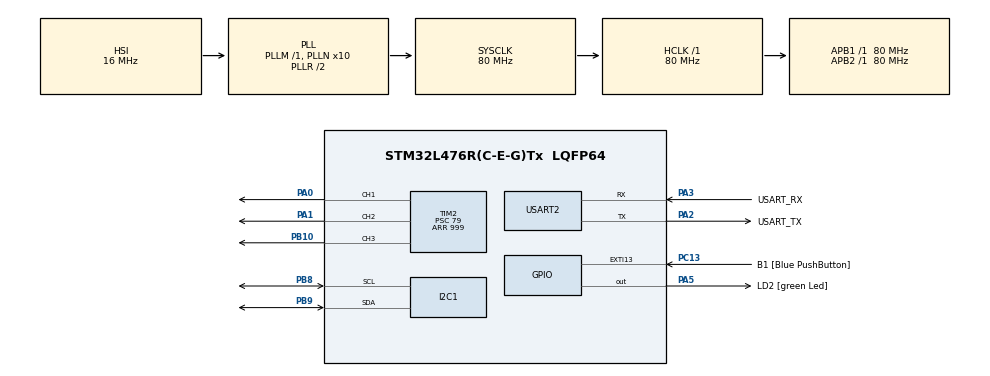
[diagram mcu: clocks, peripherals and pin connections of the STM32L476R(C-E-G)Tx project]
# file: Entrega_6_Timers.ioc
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I2C1.Timing=0x10909CEC
Mcu.Family=STM32L4
Mcu.Name=STM32L476R(C-E-G)Tx
Mcu.Package=LQFP64
NVIC.EXTI15_10_IRQn=true\:0\:0\:false\:false\:true\:true\:true\:true
NVIC.PriorityGroup=NVIC_PRIORITYGROUP_4
NVIC.TIM6_DAC_IRQn=true\:0\:0\:false\:false\:true\:true\:true\:true
PA0.Signal=S_TIM2_CH1
PA1.Signal=S_TIM2_CH2
PA13\ (JTMS-SWDIO).GPIO_Label=TMS
PA13\ (JTMS-SWDIO).Mode=Serial_Wire
PA13\ (JTMS-SWDIO).Signal=SYS_JTMS-SWDIO
PA14\ (JTCK-SWCLK).GPIO_Label=TCK
PA14\ (JTCK-SWCLK).Mode=Serial_Wire
PA14\ (JTCK-SWCLK).Signal=SYS_JTCK-SWCLK
PA2.GPIO_Label=USART_TX
PA2.GPIO_Mode=GPIO_MODE_AF_PP
PA2.GPIO_PuPd=GPIO_NOPULL
PA2.GPIO_Speed=GPIO_SPEED_FREQ_VERY_HIGH
PA2.Mode=Asynchronous
PA2.Signal=USART2_TX
PA3.GPIO_Label=USART_RX
PA3.GPIO_Mode=GPIO_MODE_AF_PP
PA3.GPIO_PuPd=GPIO_NOPULL
PA3.GPIO_Speed=GPIO_SPEED_FREQ_VERY_HIGH
PA3.Mode=Asynchronous
PA3.Signal=USART2_RX
PA5.GPIO_Label=LD2 [green Led]
PA5.GPIO_ModeDefaultOutputPP=GPIO_MODE_OUTPUT_PP
PA5.GPIO_PuPd=GPIO_NOPULL
PA5.GPIO_Speed=GPIO_SPEED_FREQ_LOW
PA5.Signal=GPIO_Output
PB10.Signal=S_TIM2_CH3
PB3\ (JTDO-TRACESWO).GPIO_Label=SWO
PB3\ (JTDO-TRACESWO).Signal=SYS_JTDO-SWO
PB8.Mode=I2C
PB8.Signal=I2C1_SCL
PB9.Mode=I2C
PB9.Signal=I2C1_SDA
PC13.GPIO_Label=B1 [Blue PushButton]
PC13.GPIO_ModeDefaultEXTI=GPIO_MODE_IT_FALLING
PC13.GPIO_PuPd=GPIO_NOPULL
PC13.Signal=GPXTI13
PC14-OSC32_IN\ (PC14).Mode=LSE-External-Oscillator
PC14-OSC32_IN\ (PC14).Signal=RCC_OSC32_IN
PC15-OSC32_OUT\ (PC15).Mode=LSE-External-Oscillator
PC15-OSC32_OUT\ (PC15).Signal=RCC_OSC32_OUT
PH0-OSC_IN\ (PH0).Signal=RCC_OSC_IN
PH1-OSC_OUT\ (PH1).Signal=RCC_OSC_OUT
ProjectManager.HeapSize=0x200
ProjectManager.StackSize=0x400
ProjectManager.TargetToolchain=STM32CubeIDE
RCC.ADCFreq_Value=64000000
RCC.AHBFreq_Value=80000000
RCC.APB1Freq_Value=80000000
RCC.APB1TimFreq_Value=80000000
RCC.APB2Freq_Value=80000000
RCC.APB2TimFreq_Value=80000000
RCC.CortexFreq_Value=80000000
RCC.HCLKFreq_Value=80000000
RCC.HSE_VALUE=8000000
RCC.HSI_VALUE=16000000
RCC.MSI_VALUE=4000000
RCC.PLLN=10
RCC.PLLSourceVirtual=RCC_PLLSOURCE_HSI
RCC.PREFETCH_ENABLE=1
RCC.SYSCLKFreq_VALUE=80000000
RCC.SYSCLKSource=RCC_SYSCLKSOURCE_PLLCLK
RCC.USBFreq_Value=64000000
RCC.VCOOutputFreq_Value=160000000
SH.S_TIM2_CH1.0=TIM2_CH1,PWM Generation1 CH1
SH.S_TIM2_CH2.0=TIM2_CH2,PWM Generation2 CH2
SH.S_TIM2_CH3.0=TIM2_CH3,PWM Generation3 CH3
TIM2.Channel-PWM\ Generation1\ CH1=TIM_CHANNEL_1
TIM2.Channel-PWM\ Generation2\ CH2=TIM_CHANNEL_2
TIM2.Channel-PWM\ Generation3\ CH3=TIM_CHANNEL_3
TIM2.Period=999
TIM2.Prescaler=79
TIM6.Period=999
TIM6.Prescaler=7999
USART2.VirtualMode-Asynchronous=VM_ASYNC
VP_TIM2_VS_ClockSourceINT.Mode=Internal
VP_TIM6_VS_ClockSourceINT.Mode=Enable_Timer
board=NUCLEO-L476RG

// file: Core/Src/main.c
/* USER CODE BEGIN Header */
/**
  ******************************************************************************
  * @file           : main.c
  * @brief          : Main program body - PCF8591 + PWM + DAC + Timer + UART
  ******************************************************************************
  */
/* USER CODE END Header */
#include "main.h"

/* USER CODE BEGIN Includes */
#include <stdint.h>
#include <stdio.h>
#include <string.h>
/* USER CODE END Includes */

/* USER CODE BEGIN PTD */
typedef enum
{
  MODO_RGB = 1,
  MODO_DAC = 2,
  MODO_RGB_DAC = 3
} ModoOperacao;
/* USER CODE END PTD */

/* USER CODE BEGIN PD */

#define PCF8591_ADDR        (0x48 << 1)

/*
  MAPEAMENTO FINAL DOS CANAIS:

  CH0 = LDR
  CH3 = POTENCIOMETRO
*/
#define PCF8591_CH_LDR      0
#define PCF8591_CH_POT      3

#define PWM_MAX_VALUE       999
#define SINE_TABLE_SIZE     10

#define I2C_TIMEOUT_MS      100

/* USER CODE END PD */

I2C_HandleTypeDef hi2c1;

TIM_HandleTypeDef htim2;
TIM_HandleTypeDef htim6;

UART_HandleTypeDef huart2;

/* USER CODE BEGIN PV */

volatile ModoOperacao modo_atual = MODO_RGB;

uint8_t pot_value = 0;
uint8_t ldr_value = 0;
uint8_t dac_value_atual = 0;

uint8_t ch0_value = 0;
uint8_t ch1_value = 0;
uint8_t ch2_value = 0;
uint8_t ch3_value = 0;

uint16_t pwm_value = 0;

volatile uint8_t sine_index = 0;
volatile uint8_t flag_timer_dac = 0;
volatile uint8_t flag_botao_pressionado = 0;

uint8_t i2c_ok = 0;

const uint8_t sine_table[SINE_TABLE_SIZE] =
{
  128, 203, 249, 249, 203,
  128, 52, 6, 6, 52
};

/* USER CODE END PV */

void SystemClock_Config(void);
static void MX_GPIO_Init(void);
static void MX_USART2_UART_Init(void);
static void MX_I2C1_Init(void);
static void MX_TIM2_Init(void);
static void MX_TIM6_Init(void);
/* USER CODE BEGIN PFP */

uint8_t PCF8591_ReadADC(uint8_t channel);
uint8_t PCF8591_WriteDAC(uint8_t value);

uint16_t Converter_ADC_Para_PWM(uint8_t adc_value);

void Atualizar_PWM_RGB(uint16_t value);
void Desligar_PWM_RGB(void);

void UART_Print(char *msg);
void UART_Print_Status(void);

void Piscar_LD2(uint8_t quantidade);
void Processar_Botao(void);
void Processar_DAC(void);

/* USER CODE END PFP */

/* USER CODE BEGIN 0 */

void UART_Print(char *msg)
{
  HAL_UART_Transmit(&huart2, (uint8_t *)msg, strlen(msg), 100);
}

void UART_Print_Status(void)
{
  char buffer[240];

  snprintf(buffer, sizeof(buffer),
           "Modo:%d | POT:%3d | LDR:%3d | PWM:%4d | DAC:%3d | I2C:%s | CH0:%3d CH1:%3d CH2:%3d CH3:%3d\r\n",
           modo_atual,
           pot_value,
           ldr_value,
           pwm_value,
           dac_value_atual,
           i2c_ok ? "OK" : "ERRO",
           ch0_value,
           ch1_value,
           ch2_value,
           ch3_value);

  UART_Print(buffer);
}

uint8_t PCF8591_ReadADC(uint8_t channel)
{
  uint8_t control_byte;
  uint8_t adc_value = 0;
  HAL_StatusTypeDef status;

  control_byte = 0x40 | (channel & 0x03);

  status = HAL_I2C_Master_Transmit(&hi2c1, PCF8591_ADDR, &control_byte, 1, I2C_TIMEOUT_MS);

  if (status != HAL_OK)
  {
    i2c_ok = 0;
    return 0;
  }

  HAL_I2C_Master_Receive(&hi2c1, PCF8591_ADDR, &adc_value, 1, I2C_TIMEOUT_MS);

  status = HAL_I2C_Master_Receive(&hi2c1, PCF8591_ADDR, &adc_value, 1, I2C_TIMEOUT_MS);

  if (status != HAL_OK)
  {
    i2c_ok = 0;
    return 0;
  }

  i2c_ok = 1;
  return adc_value;
}

uint8_t PCF8591_WriteDAC(uint8_t value)
{
  uint8_t data[2];
  HAL_StatusTypeDef status;

  data[0] = 0x40;
  data[1] = value;

  status = HAL_I2C_Master_Transmit(&hi2c1, PCF8591_ADDR, data, 2, I2C_TIMEOUT_MS);

  if (status != HAL_OK)
  {
    i2c_ok = 0;
    return 0;
  }

  i2c_ok = 1;
  return 1;
}

uint16_t Converter_ADC_Para_PWM(uint8_t adc_value)
{
  return (uint16_t)(((uint32_t)adc_value * PWM_MAX_VALUE) / 255);
}

void Atualizar_PWM_RGB(uint16_t value)
{
  __HAL_TIM_SET_COMPARE(&htim2, TIM_CHANNEL_1, value);
  __HAL_TIM_SET_COMPARE(&htim2, TIM_CHANNEL_2, value);
  __HAL_TIM_SET_COMPARE(&htim2, TIM_CHANNEL_3, value);
}

void Desligar_PWM_RGB(void)
{
  __HAL_TIM_SET_COMPARE(&htim2, TIM_CHANNEL_1, 0);
  __HAL_TIM_SET_COMPARE(&htim2, TIM_CHANNEL_2, 0);
  __HAL_TIM_SET_COMPARE(&htim2, TIM_CHANNEL_3, 0);
}

void Piscar_LD2(uint8_t quantidade)
{
  for (uint8_t i = 0; i < quantidade; i++)
  {
    HAL_GPIO_WritePin(LD2_GPIO_Port, LD2_Pin, GPIO_PIN_SET);
    HAL_Delay(120);

    HAL_GPIO_WritePin(LD2_GPIO_Port, LD2_Pin, GPIO_PIN_RESET);
    HAL_Delay(120);
  }
}

void Processar_Botao(void)
{
  if (flag_botao_pressionado == 0)
  {
    return;
  }

  flag_botao_pressionado = 0;

  if (modo_atual == MODO_RGB)
  {
    modo_atual = MODO_DAC;
    UART_Print("\r\nBotao pressionado -> Modo 2: DAC\r\n");
    Piscar_LD2(2);
  }
  else if (modo_atual == MODO_DAC)
  {
    modo_atual = MODO_RGB_DAC;
    UART_Print("\r\nBotao pressionado -> Modo 3: RGB + DAC\r\n");
    Piscar_LD2(3);
  }
  else
  {
    modo_atual = MODO_RGB;
    UART_Print("\r\nBotao pressionado -> Modo 1: RGB/PWM\r\n");
    Piscar_LD2(1);
  }
}

void Processar_DAC(void)
{
  if (flag_timer_dac == 0)
  {
    return;
  }

  flag_timer_dac = 0;

  if ((modo_atual == MODO_DAC) || (modo_atual == MODO_RGB_DAC))
  {
    uint8_t sine_value;

    sine_value = sine_table[sine_index];

    /*
      Amplitude controlada pelo LDR.
      Quanto maior o valor do LDR, maior o valor enviado ao DAC.
    */
    dac_value_atual = (uint8_t)(((uint16_t)sine_value * ldr_value) / 255);

    PCF8591_WriteDAC(dac_value_atual);

    sine_index++;

    if (sine_index >= SINE_TABLE_SIZE)
    {
      sine_index = 0;
    }
  }
  else
  {
    dac_value_atual = 0;
    PCF8591_WriteDAC(0);
    sine_index = 0;
  }
}

void HAL_GPIO_EXTI_Callback(uint16_t GPIO_Pin)
{
  if (GPIO_Pin == B1_Pin)
  {
    flag_botao_pressionado = 1;
  }
}

void HAL_TIM_PeriodElapsedCallback(TIM_HandleTypeDef *htim)
{
  if (htim->Instance == TIM6)
  {
    flag_timer_dac = 1;
  }
}

/* USER CODE END 0 */

int main(void)
{

  HAL_Init();

  SystemClock_Config();

  MX_GPIO_Init();
  MX_USART2_UART_Init();
  MX_I2C1_Init();
  MX_TIM2_Init();
  MX_TIM6_Init();

  /* USER CODE BEGIN 2 */

  HAL_TIM_PWM_Start(&htim2, TIM_CHANNEL_1);
  HAL_TIM_PWM_Start(&htim2, TIM_CHANNEL_2);
  HAL_TIM_PWM_Start(&htim2, TIM_CHANNEL_3);

  HAL_TIM_Base_Start_IT(&htim6);

  modo_atual = MODO_RGB;

  Desligar_PWM_RGB();
  PCF8591_WriteDAC(0);

  UART_Print("\r\n========================================\r\n");
  UART_Print("Projeto PCF8591 + PWM + DAC + Timer\r\n");
  UART_Print("Modo inicial: 1 - RGB/PWM\r\n");
  UART_Print("Botao azul alterna: 1 -> 2 -> 3 -> 1\r\n");
  UART_Print("UART: 115200 baud, 8N1\r\n");
  UART_Print("Mapeamento final: LDR=CH0 | POT=CH3\r\n");
  UART_Print("========================================\r\n\r\n");

  Piscar_LD2(1);

  uint32_t last_print = 0;

  /* USER CODE END 2 */

  /* Infinite loop */
  /* USER CODE BEGIN WHILE */
  while (1)
  {
    Processar_Botao();

    /*
      Leitura dos quatro canais para diagnóstico.
    */
    ch0_value = PCF8591_ReadADC(0);
    ch1_value = PCF8591_ReadADC(1);
    ch2_value = PCF8591_ReadADC(2);
    ch3_value = PCF8591_ReadADC(3);

    /*
      Mapeamento final:
      LDR = CH0
      POT = CH3
    */
    ldr_value = ch0_value;
    pot_value = ch3_value;

    pwm_value = Converter_ADC_Para_PWM(pot_value);

    if ((modo_atual == MODO_RGB) || (modo_atual == MODO_RGB_DAC))
    {
      Atualizar_PWM_RGB(pwm_value);
    }
    else
    {
      Desligar_PWM_RGB();
    }

    Processar_DAC();

    if (HAL_GetTick() - last_print >= 500)
    {
      last_print = HAL_GetTick();
      UART_Print_Status();
    }

    HAL_Delay(20);

    /* USER CODE END WHILE */

  }
}

void SystemClock_Config(void)
{
  RCC_OscInitTypeDef RCC_OscInitStruct = {0};
  RCC_ClkInitTypeDef RCC_ClkInitStruct = {0};

  if (HAL_PWREx_ControlVoltageScaling(PWR_REGULATOR_VOLTAGE_SCALE1) != HAL_OK)
  {
    Error_Handler();
  }

  RCC_OscInitStruct.OscillatorType = RCC_OSCILLATORTYPE_HSI;
  RCC_OscInitStruct.HSIState = RCC_HSI_ON;
  RCC_OscInitStruct.HSICalibrationValue = RCC_HSICALIBRATION_DEFAULT;
  RCC_OscInitStruct.PLL.PLLState = RCC_PLL_ON;
  RCC_OscInitStruct.PLL.PLLSource = RCC_PLLSOURCE_HSI;
  RCC_OscInitStruct.PLL.PLLM = 1;
  RCC_OscInitStruct.PLL.PLLN = 10;
  RCC_OscInitStruct.PLL.PLLP = RCC_PLLP_DIV7;
  RCC_OscInitStruct.PLL.PLLQ = RCC_PLLQ_DIV2;
  RCC_OscInitStruct.PLL.PLLR = RCC_PLLR_DIV2;

  if (HAL_RCC_OscConfig(&RCC_OscInitStruct) != HAL_OK)
  {
    Error_Handler();
  }

  RCC_ClkInitStruct.ClockType = RCC_CLOCKTYPE_HCLK |
                                RCC_CLOCKTYPE_SYSCLK |
                                RCC_CLOCKTYPE_PCLK1 |
                                RCC_CLOCKTYPE_PCLK2;

  RCC_ClkInitStruct.SYSCLKSource = RCC_SYSCLKSOURCE_PLLCLK;
  RCC_ClkInitStruct.AHBCLKDivider = RCC_SYSCLK_DIV1;
  RCC_ClkInitStruct.APB1CLKDivider = RCC_HCLK_DIV1;
  RCC_ClkInitStruct.APB2CLKDivider = RCC_HCLK_DIV1;

  if (HAL_RCC_ClockConfig(&RCC_ClkInitStruct, FLASH_LATENCY_4) != HAL_OK)
  {
    Error_Handler();
  }
}

static void MX_I2C1_Init(void)
{

  hi2c1.Instance = I2C1;
  hi2c1.Init.Timing = 0x10909CEC;
  hi2c1.Init.OwnAddress1 = 0;
  hi2c1.Init.AddressingMode = I2C_ADDRESSINGMODE_7BIT;
  hi2c1.Init.DualAddressMode = I2C_DUALADDRESS_DISABLE;
  hi2c1.Init.OwnAddress2 = 0;
  hi2c1.Init.OwnAddress2Masks = I2C_OA2_NOMASK;
  hi2c1.Init.GeneralCallMode = I2C_GENERALCALL_DISABLE;
  hi2c1.Init.NoStretchMode = I2C_NOSTRETCH_DISABLE;

  if (HAL_I2C_Init(&hi2c1) != HAL_OK)
  {
    Error_Handler();
  }

  if (HAL_I2CEx_ConfigAnalogFilter(&hi2c1, I2C_ANALOGFILTER_ENABLE) != HAL_OK)
  {
    Error_Handler();
  }

  if (HAL_I2CEx_ConfigDigitalFilter(&hi2c1, 0) != HAL_OK)
  {
    Error_Handler();
  }

}

static void MX_TIM2_Init(void)
{

  TIM_ClockConfigTypeDef sClockSourceConfig = {0};
  TIM_MasterConfigTypeDef sMasterConfig = {0};
  TIM_OC_InitTypeDef sConfigOC = {0};

  htim2.Instance = TIM2;
  htim2.Init.Prescaler = 79;
  htim2.Init.CounterMode = TIM_COUNTERMODE_UP;
  htim2.Init.Period = 999;
  htim2.Init.ClockDivision = TIM_CLOCKDIVISION_DIV1;
  htim2.Init.AutoReloadPreload = TIM_AUTORELOAD_PRELOAD_DISABLE;

  if (HAL_TIM_Base_Init(&htim2) != HAL_OK)
  {
    Error_Handler();
  }

  sClockSourceConfig.ClockSource = TIM_CLOCKSOURCE_INTERNAL;

  if (HAL_TIM_ConfigClockSource(&htim2, &sClockSourceConfig) != HAL_OK)
  {
    Error_Handler();
  }

  if (HAL_TIM_PWM_Init(&htim2) != HAL_OK)
  {
    Error_Handler();
  }

  sMasterConfig.MasterOutputTrigger = TIM_TRGO_RESET;
  sMasterConfig.MasterSlaveMode = TIM_MASTERSLAVEMODE_DISABLE;

  if (HAL_TIMEx_MasterConfigSynchronization(&htim2, &sMasterConfig) != HAL_OK)
  {
    Error_Handler();
  }

  sConfigOC.OCMode = TIM_OCMODE_PWM1;
  sConfigOC.Pulse = 0;
  sConfigOC.OCPolarity = TIM_OCPOLARITY_HIGH;
  sConfigOC.OCFastMode = TIM_OCFAST_DISABLE;

  if (HAL_TIM_PWM_ConfigChannel(&htim2, &sConfigOC, TIM_CHANNEL_1) != HAL_OK)
  {
    Error_Handler();
  }

  if (HAL_TIM_PWM_ConfigChannel(&htim2, &sConfigOC, TIM_CHANNEL_2) != HAL_OK)
  {
    Error_Handler();
  }

  if (HAL_TIM_PWM_ConfigChannel(&htim2, &sConfigOC, TIM_CHANNEL_3) != HAL_OK)
  {
    Error_Handler();
  }

  HAL_TIM_MspPostInit(&htim2);
}

static void MX_TIM6_Init(void)
{

  TIM_MasterConfigTypeDef sMasterConfig = {0};

  htim6.Instance = TIM6;
  htim6.Init.Prescaler = 7999;
  htim6.Init.CounterMode = TIM_COUNTERMODE_UP;
  htim6.Init.Period = 999;
  htim6.Init.AutoReloadPreload = TIM_AUTORELOAD_PRELOAD_DISABLE;

  if (HAL_TIM_Base_Init(&htim6) != HAL_OK)
  {
    Error_Handler();
  }

  sMasterConfig.MasterOutputTrigger = TIM_TRGO_RESET;
  sMasterConfig.MasterSlaveMode = TIM_MASTERSLAVEMODE_DISABLE;

  if (HAL_TIMEx_MasterConfigSynchronization(&htim6, &sMasterConfig) != HAL_OK)
  {
    Error_Handler();
  }

}

static void MX_USART2_UART_Init(void)
{

  huart2.Instance = USART2;
  huart2.Init.BaudRate = 115200;
  huart2.Init.WordLength = UART_WORDLENGTH_8B;
  huart2.Init.StopBits = UART_STOPBITS_1;
  huart2.Init.Parity = UART_PARITY_NONE;
  huart2.Init.Mode = UART_MODE_TX_RX;
  huart2.Init.HwFlowCtl = UART_HWCONTROL_NONE;
  huart2.Init.OverSampling = UART_OVERSAMPLING_16;
  huart2.Init.OneBitSampling = UART_ONE_BIT_SAMPLE_DISABLE;
  huart2.AdvancedInit.AdvFeatureInit = UART_ADVFEATURE_NO_INIT;

  if (HAL_UART_Init(&huart2) != HAL_OK)
  {
    Error_Handler();
  }

}

static void MX_GPIO_Init(void)
{
  GPIO_InitTypeDef GPIO_InitStruct = {0};

  __HAL_RCC_GPIOC_CLK_ENABLE();
  __HAL_RCC_GPIOH_CLK_ENABLE();
  __HAL_RCC_GPIOA_CLK_ENABLE();
  __HAL_RCC_GPIOB_CLK_ENABLE();

  HAL_GPIO_WritePin(LD2_GPIO_Port, LD2_Pin, GPIO_PIN_RESET);

  GPIO_InitStruct.Pin = B1_Pin;
  GPIO_InitStruct.Mode = GPIO_MODE_IT_FALLING;
  GPIO_InitStruct.Pull = GPIO_NOPULL;
  HAL_GPIO_Init(B1_GPIO_Port, &GPIO_InitStruct);

  GPIO_InitStruct.Pin = LD2_Pin;
  GPIO_InitStruct.Mode = GPIO_MODE_OUTPUT_PP;
  GPIO_InitStruct.Pull = GPIO_NOPULL;
  GPIO_InitStruct.Speed = GPIO_SPEED_FREQ_LOW;
  HAL_GPIO_Init(LD2_GPIO_Port, &GPIO_InitStruct);

  HAL_NVIC_SetPriority(EXTI15_10_IRQn, 0, 0);
  HAL_NVIC_EnableIRQ(EXTI15_10_IRQn);
}

void Error_Handler(void)
{
  __disable_irq();
  while (1)
  {
  }
}
